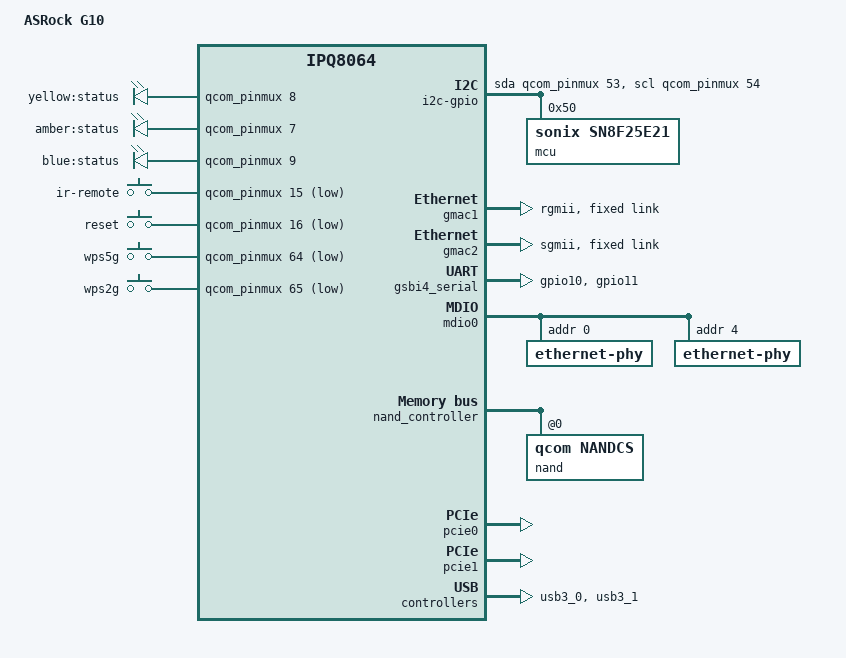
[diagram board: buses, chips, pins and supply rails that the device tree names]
// SPDX-License-Identifier: GPL-2.0
#include "qcom-ipq8064-v2.0.dtsi"

#include <dt-bindings/input/input.h>
#include <dt-bindings/soc/qcom,tcsr.h>

/ {
	compatible = "asrock,g10", "qcom,ipq8064";
	model = "ASRock G10";

	aliases {
		ethernet0 = &gmac1;
		ethernet1 = &gmac0;

		led-boot = &led_status_blue;
		led-failsafe = &led_status_amber;
		led-running = &led_status_blue;
		led-upgrade = &led_status_amber;
	};

	chosen {
		bootargs-override = "console=ttyMSM0,115200n8";
	};

	leds {
		compatible = "gpio-leds";

		pinctrl-0 = <&led_pins>;
		pinctrl-names = "default";

		/*
		 * this is a bit misleading. Because there are about seven
		 * multicolor LEDs connected all wired together in parallel.
		 */

		status_yellow {
			label = "yellow:status";
			gpios = <&qcom_pinmux 8 GPIO_ACTIVE_HIGH>;
		};

		led_status_amber: status_amber {
			label = "amber:status";
			gpios = <&qcom_pinmux 7 GPIO_ACTIVE_HIGH>;
		};

		led_status_blue: status_blue {
			label = "blue:status";
			gpios = <&qcom_pinmux 9 GPIO_ACTIVE_HIGH>;
		};

		/*
		 * LED is declared in vendors boardfile but it's not
		 * working and the manual doesn't mention anything
		 * about the LED being white.

		status_white {
			label = "white:status";
			gpios = <&qcom_pinmux 26 GPIO_ACTIVE_HIGH>;
		};
		*/
	};

	i2c-gpio {
		#address-cells = <1>;
		#size-cells = <0>;

		compatible = "i2c-gpio";
		gpios = <&qcom_pinmux 53 GPIO_ACTIVE_HIGH>, /* sda */
			<&qcom_pinmux 54 GPIO_ACTIVE_HIGH>; /* scl */
		i2c-gpio,delay-us = <5>;
		i2c-gpio,scl-output-only;

		mcu@50 {
			reg = <0x50>;
			compatible = "sonix,sn8f25e21";
		};
	};

	keys {
		compatible = "gpio-keys";

		pinctrl-0 = <&button_pins>;
		pinctrl-names = "default";

		ir-remote {
			label = "ir-remote";
			gpios = <&qcom_pinmux 15 GPIO_ACTIVE_LOW>;
			linux,code = <BTN_0>;
			debounce-interval = <60>;
			wakeup-source;
		};

		reset {
			label = "reset";
			gpios = <&qcom_pinmux 16 GPIO_ACTIVE_LOW>;
			linux,code = <KEY_RESTART>;
			debounce-interval = <60>;
			wakeup-source;
		};

		wps5g {
			label = "wps5g";
			gpios = <&qcom_pinmux 64 GPIO_ACTIVE_LOW>;
			linux,code = <KEY_WPS_BUTTON>;
			debounce-interval = <60>;
			wakeup-source;
		};

		wps2g {
			label = "wps2g";
			gpios = <&qcom_pinmux 65 GPIO_ACTIVE_LOW>;
			linux,code = <KEY_WPS_BUTTON>;
			debounce-interval = <60>;
			wakeup-source;
		};
	};
};

&adm_dma {
	status = "okay";
};

&gmac1 {
	status = "okay";
	compatible = "qcom,nss-gmac";
	reg = <0x37200000 0x200000>;
	interrupts = <GIC_SPI 223 IRQ_TYPE_LEVEL_HIGH>;
	phy-mode = "rgmii";
	qcom,id = <1>;
	qcom,pcs-chanid = <0>;
	qcom,phy-mdio-addr = <4>;
	qcom,poll-required = <0>;
	qcom,rgmii-delay = <1>;
	qcom,phy_mii_type = <0>;
	qcom,emulation = <0>;
	qcom,forced-speed = <1000>;
	qcom,forced-duplex = <1>;
	qcom,socver = <0>;
	qcom,irq = <255>;
	mdiobus = <&mdio0>;

	pinctrl-0 = <&rgmii2_pins>;
	pinctrl-names = "default";

	fixed-link {
		speed = <1000>;
		full-duplex;
	};
};

&gmac2 {
	status = "okay";
	compatible = "qcom,nss-gmac";
	reg = <0x37400000 0x200000>;
	interrupts = <GIC_SPI 226 IRQ_TYPE_LEVEL_HIGH>;
	phy-mode = "sgmii";
	qcom,id = <2>;
	qcom,pcs-chanid = <1>;
	qcom,phy-mdio-addr = <0>;
	qcom,poll-required = <0>;	/* no polling */
	qcom,rgmii-delay = <0>;
	qcom,phy_mii_type = <1>;
	qcom,emulation = <0>;
	qcom,forced-speed = <1000>;
	qcom,forced-duplex = <1>;
	qcom,socver = <0>;
	qcom,irq = <258>;
	mdiobus = <&mdio0>;

	fixed-link {
		speed = <1000>;
		full-duplex;
	};
};

&gsbi4_serial {
	pinctrl-0 = <&uart0_pins>;
	pinctrl-names = "default";
};

&mdio0 {
	status = "okay";

	pinctrl-0 = <&mdio0_pins>;
	pinctrl-names = "default";

	ethernet-phy@0 {
		reg = <0>;
		qca,ar8327-initvals = <
			0x00004 0x7600000   /* PAD0_MODE */
			0x00008 0x1000000   /* PAD5_MODE */
			0x0000c 0x80        /* PAD6_MODE */
			0x000e4 0x6a545     /* MAC_POWER_SEL */
			0x000e0 0xc74164de  /* SGMII_CTRL */
			0x0007c 0x4e        /* PORT0_STATUS */
			0x00094 0x4e        /* PORT6_STATUS */
			>;
	};
	
	ethernet-phy@4 {
		reg = <4>;
	};
};

&nand_controller {
	status = "okay";

	pinctrl-0 = <&nand_pins>;
	pinctrl-names = "default";

	nand@0 {
		reg = <0>;
		compatible = "qcom,nandcs";

		nand-ecc-strength = <4>;
		nand-bus-width = <8>;
		nand-ecc-step-size = <512>;

		partitions {
			compatible = "qcom,smem-part";
		};
	};
};

&pcie0 {
	status = "okay";
};

&pcie1 {
	status = "okay";
};

&qcom_pinmux {
	led_pins: led_pins {
		mux {
			pins = "gpio7", "gpio8", "gpio9", "gpio26";
			function = "gpio";
			drive-strength = <2>;
			bias-pull-up;
		};
	};

	button_pins: button_pins {
		mux {
			pins = "gpio15", "gpio16", "gpio64", "gpio65";
			function = "gpio";
			drive-strength = <2>;
			bias-pull-up;
		};
	};

	uart0_pins: uart0_pins {
		mux {
			pins = "gpio10", "gpio11";
			function = "gsbi4";
			drive-strength = <10>;
			bias-disable;
		};
	};
};

&rpm {
	pinctrl-0 = <&i2c4_pins>;
	pinctrl-names = "default";
};

&usb3_0 {
	status = "okay";
};

&usb3_1 {
	status = "okay";
};

&tcsr {
	qcom,usb-ctrl-select = <TCSR_USB_SELECT_USB3_DUAL>;
};

/delete-node/ &pcie2_pins;
/delete-node/ &pcie2;
